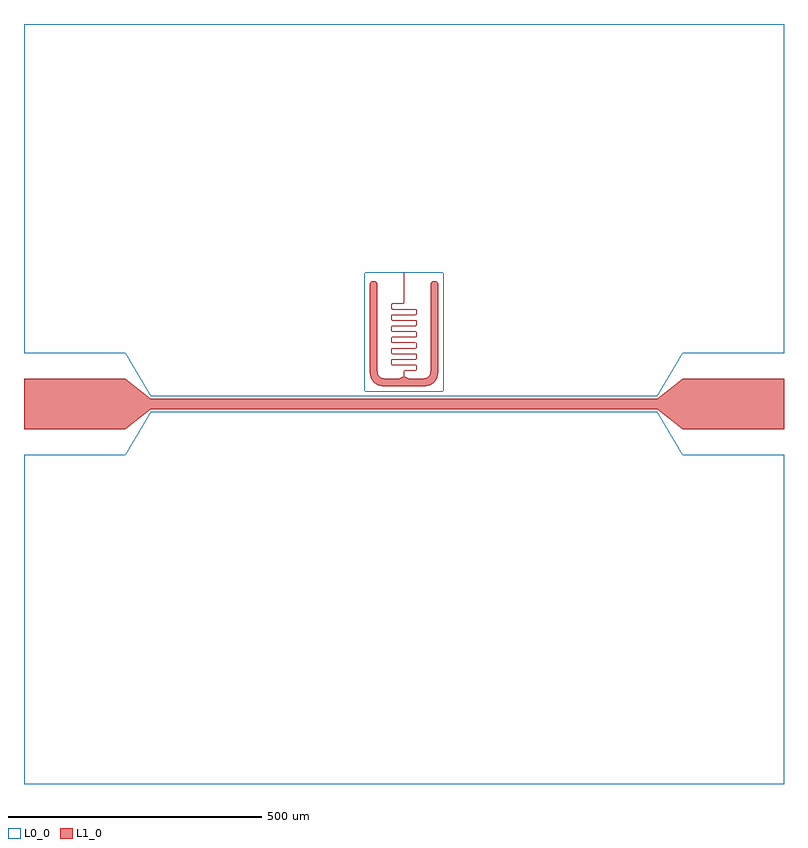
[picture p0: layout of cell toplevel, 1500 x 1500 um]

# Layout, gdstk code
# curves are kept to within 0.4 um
import gdstk
lib = gdstk.Library(unit=1e-6, precision=1e-09)
def P(c, l, *ps):  # polygons
    for p in ps: c.add(gdstk.Polygon(p, *l))
L0_0 = (0, 0)
L1_0 = (1, 0)

toplevel = lib.new_cell('toplevel')
P(toplevel, L0_0, [(550,100),(750,100),(750,750),(-750,750),(-750,100),(-550,100),(-505.882,25),(-77.5,25),(-77.5,259),(77.5,259),(77.5,25),(-505.882,25),(-500,15),(500,15)],
  [(750,-100),(550,-100),(500,-15),(-500,-15),(-550,-100),(-750,-100),(-750,-750),(750,-750)])
P(toplevel, L1_0, [(-60.327,242.493),(-63.17,241.797),(-65.53,240.067),(-67.048,237.565),(-67.5,235),(-67.466,66.294),(-66.361,56.299),(-63.309,48.269),(-59.261,42.96),(-54.07,39.101),(-47.508,36.466),(-39.892,35.211),(37.654,35.08),(46.853,36.295),(54.231,39.191),(59.678,43.38),(63.576,48.753),(66.164,55.484),(67.352,63.513),(67.5,235),(66.495,238.75),(63.17,241.797),(58.377,242.322),(54.47,240.067),(52.529,235.654),(52.486,67.498),(51.922,60.522),(50.334,55.8),(48.603,53.52),(46.053,51.837),(38.181,50.127),(-36.211,50.039),(-43.028,50.801),(-47.908,52.94),(-50.663,56.447),(-52.173,62.144),(-52.507,235.327),(-53.203,238.17),(-54.933,240.53),(-57.435,242.048)],
  [(0.5,55),(0.542,63.395),(0.892,64.54),(1.647,65.207),(3.309,65.498),(22.074,65.514),(23.436,65.749),(24.455,66.329),(25.216,67.468),(25.493,69.093),(25.46,74.432),(25.231,75.493),(24.769,76.339),(23.589,77.194),(21.852,77.495),(-22.75,77.597),(-23.417,77.824),(-23.905,78.188),(-24.435,79.433),(-24.49,84.975),(-24.129,86.504),(-23.275,87.242),(-21.792,87.496),(21.454,87.5),(23.048,87.639),(23.929,87.963),(24.612,88.48),(25.094,89.183),(25.39,90.088),(25.489,96.018),(25.361,97.048),(25.056,97.892),(24.567,98.567),(23.873,99.066),(23.009,99.37),(21.944,99.492),(-22.316,99.533),(-23.379,99.805),(-24.056,100.379),(-24.414,101.311),(-24.495,106.826),(-24.357,107.941),(-23.792,108.923),(-22.704,109.412),(22.149,109.518),(23.436,109.749),(24.406,110.286),(25.066,111.127),(25.421,112.261),(25.498,117.67),(25.332,119.165),(25.016,119.966),(24.52,120.612),(23.855,121.075),(23.029,121.365),(21.454,121.5),(-21.975,121.51),(-22.97,121.651),(-23.699,122),(-24.163,122.558),(-24.425,123.372),(-24.403,129.75),(-23.869,130.85),(-22.779,131.396),(-21.434,131.5),(22.13,131.517),(23.397,131.736),(24.356,132.245),(25.027,133.052),(25.401,134.146),(25.499,139.598),(25.337,141.145),(25.027,141.948),(24.535,142.597),(23.873,143.066),(23.029,143.365),(21.454,143.5),(-21.942,143.509),(-22.927,143.639),(-23.655,143.968),(-24.129,144.496),(-24.406,145.265),(-24.406,151.735),(-23.869,152.85),(-22.779,153.396),(-21.434,153.5),(22.112,153.516),(23.339,153.717),(24.305,154.205),(24.974,154.961),(25.37,155.991),(25.5,161.49),(25.342,163.126),(25.027,163.948),(24.535,164.597),(23.873,165.066),(23.029,165.365),(21.454,165.5),(-21.926,165.508),(-22.898,165.632),(-23.61,165.937),(-24.086,166.425),(-24.379,167.146),(-24.5,168.497),(-24.412,173.704),(-23.878,174.841),(-22.779,175.396),(-21.434,175.5),(22.074,175.514),(23.281,175.7),(24.218,176.141),(24.895,176.835),(25.322,177.797),(25.5,179.51),(25.495,183.852),(25.352,185.087),(25.037,185.929),(24.551,186.582),(23.873,187.066),(23.029,187.365),(21.454,187.5),(-21.892,187.507),(-22.839,187.617),(-23.54,187.892),(-24.016,188.323),(-24.332,188.973),(-24.497,190.275),(-24.451,195.458),(-24.071,196.598),(-23.288,197.237),(-21.674,197.498),(-2.587,197.538),(-1.584,197.743),(-0.782,198.141),(-0.179,198.73),(0.237,199.526),(0.5,201.51),(0.5,259),(-0.5,259),(-0.5,201.531),(-0.705,199.861),(-1,199.301),(-1.425,198.914),(-2.812,198.522),(-21.761,198.497),(-22.854,198.401),(-23.742,198.13),(-24.859,197.218),(-25.417,195.758),(-25.497,190.257),(-25.288,188.68),(-24.846,187.764),(-24.165,187.105),(-23.242,186.689),(-22.056,186.513),(22.779,186.396),(23.878,185.841),(24.414,184.689),(24.499,179.411),(24.357,178.059),(24.056,177.379),(23.575,176.914),(22.868,176.624),(21.909,176.508),(-21.454,176.5),(-23.029,176.365),(-23.873,176.066),(-24.551,175.582),(-25.037,174.929),(-25.347,174.106),(-25.5,172.348),(-25.495,168.148),(-25.352,166.913),(-24.941,165.906),(-24.27,165.179),(-23.32,164.712),(-22.093,164.515),(22.779,164.396),(23.878,163.841),(24.409,162.719),(24.5,157.566),(24.393,156.206),(24.108,155.46),(23.632,154.952),(22.912,154.635),(21.942,154.509),(-21.454,154.5),(-23.029,154.365),(-23.873,154.066),(-24.535,153.597),(-25.027,152.948),(-25.337,152.145),(-25.499,150.562),(-25.386,145.068),(-25.006,144.016),(-24.339,143.231),(-23.378,142.73),(-22.13,142.517),(22.779,142.396),(23.869,141.85),(24.406,140.735),(24.417,134.326),(24.15,133.533),(23.677,132.984),(22.956,132.647),(21.959,132.509),(-21.454,132.5),(-23.029,132.365),(-23.855,132.075),(-24.52,131.612),(-25.016,130.966),(-25.332,130.165),(-25.499,128.634),(-25.411,123.204),(-25.047,122.09),(-24.389,121.272),(-23.416,120.743),(-22.149,120.518),(22.779,120.396),(23.869,119.85),(24.403,118.75),(24.433,112.418),(24.176,111.583),(23.709,111.008),(22.985,110.655),(21.975,110.51),(-21.437,110.5),(-22.893,110.394),(-23.723,110.138),(-24.389,109.728),(-24.895,109.165),(-25.251,108.436),(-25.489,107.018),(-25.365,100.971),(-24.834,99.747),(-23.873,98.934),(-22.47,98.544),(21.792,98.496),(23.314,98.225),(23.821,97.896),(24.17,97.43),(24.492,95.926),(24.433,90.418),(23.905,89.188),(22.765,88.601),(-21.926,88.492),(-22.951,88.382),(-23.798,88.103),(-24.488,87.642),(-24.985,87.021),(-25.332,86.165),(-25.485,85.093),(-25.397,79.126),(-25.103,78.202),(-24.612,77.48),(-23.929,76.963),(-23.048,76.639),(-21.454,76.5),(21.758,76.497),(23.139,76.295),(24,75.699),(24.328,75.042),(24.48,74.155),(24.475,68.78),(24.115,67.472),(23.275,66.758),(21.657,66.502),(2.963,66.488),(1.603,66.264),(0.594,65.714),(-0.121,64.761),(-0.46,63.432),(-0.5,55)],
  [(10,50),(0.5,55),(-0.5,55),(-10,50)],
  [(-500,10),(-550,50),(-750,50),(-750,-50),(-550,-50),(-500,-10),(500,-10),(550,-50),(750,-50),(750,50),(550,50),(500,10)])

lib.write_gds('toplevel.gds')
